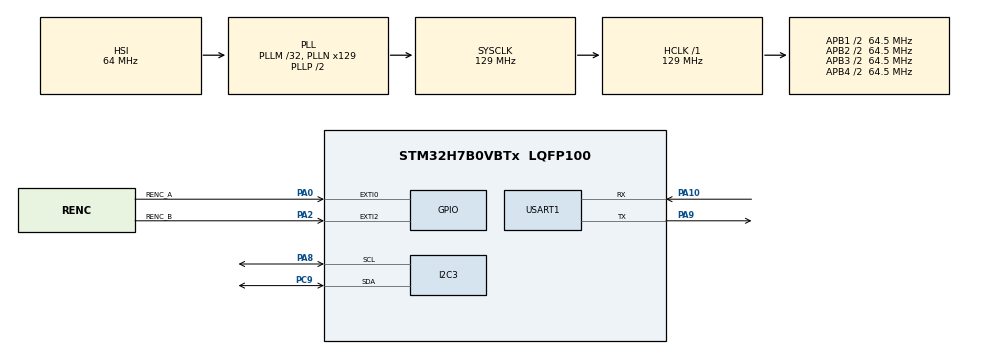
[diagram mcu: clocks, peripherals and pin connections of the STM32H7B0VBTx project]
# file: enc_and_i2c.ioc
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I2C3.Timing=0x4030324B
Mcu.Family=STM32H7
Mcu.Name=STM32H7B0VBTx
Mcu.Package=LQFP100
NVIC.EXTI0_IRQn=true\:0\:0\:false\:false\:true\:true\:true\:true
NVIC.EXTI2_IRQn=true\:0\:0\:false\:false\:true\:true\:true\:true
NVIC.PriorityGroup=NVIC_PRIORITYGROUP_4
NVIC.USART1_IRQn=true\:0\:0\:false\:false\:true\:true\:true\:true
PA0.GPIO_Label=RENC_A
PA0.GPIO_ModeDefaultEXTI=GPIO_MODE_IT_RISING_FALLING
PA0.GPIO_PuPd=GPIO_PULLUP
PA0.Signal=GPXTI0
PA10.Mode=Asynchronous
PA10.Signal=USART1_RX
PA2.GPIO_Label=RENC_B
PA2.GPIO_ModeDefaultEXTI=GPIO_MODE_IT_RISING_FALLING
PA2.GPIO_PuPd=GPIO_PULLUP
PA2.Signal=GPXTI2
PA8.Mode=I2C
PA8.Signal=I2C3_SCL
PA9.Mode=Asynchronous
PA9.Signal=USART1_TX
PC9.Mode=I2C
PC9.Signal=I2C3_SDA
PH0-OSC_IN.Mode=HSE-External-Oscillator
PH0-OSC_IN.Signal=RCC_OSC_IN
PH1-OSC_OUT.Mode=HSE-External-Oscillator
PH1-OSC_OUT.Signal=RCC_OSC_OUT
ProjectManager.HeapSize=0x200
ProjectManager.StackSize=0x400
ProjectManager.TargetToolchain=STM32CubeIDE
RCC.ADCFreq_Value=129000000
RCC.APB1Freq_Value=64500000
RCC.APB2Freq_Value=64500000
RCC.APB3Freq_Value=64500000
RCC.APB4Freq_Value=64500000
RCC.CDPPRE=RCC_APB3_DIV2
RCC.CDPPRE1=RCC_APB1_DIV2
RCC.CDPPRE2=RCC_APB2_DIV2
RCC.CortexFreq_Value=129000000
RCC.HCLKFreq_Value=129000000
RCC.SRDPPRE=RCC_APB4_DIV2
RCC.SYSCLKFreq_VALUE=129000000
RCC.SYSCLKSource=RCC_SYSCLKSOURCE_PLLCLK
RCC.USBFreq_Value=129000000
USART1.VirtualMode-Asynchronous=VM_ASYNC
board=custom

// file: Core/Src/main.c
/* USER CODE BEGIN Header */
/**
  ******************************************************************************
  * @file           : main.c
  * @brief          : Main program body
  ******************************************************************************
  * @attention
  *
  * Copyright (c) 2022 STMicroelectronics.
  * All rights reserved.
  *
  * This software is licensed under terms that can be found in the LICENSE file
  * in the root directory of this software component.
  * If no LICENSE file comes with this software, it is provided AS-IS.
  *
  ******************************************************************************
  */
/* USER CODE END Header */
#include "main.h"

#include <string.h>
#include <stdio.h>
#include <stdbool.h>

I2C_HandleTypeDef hi2c3;

UART_HandleTypeDef huart1;

void SystemClock_Config(void);
static void MX_GPIO_Init(void);
static void MX_I2C3_Init(void);
static void MX_USART1_UART_Init(void);

/* USER CODE BEGIN 0 */
	bool send_usart = 0;
	int16_t count = 95;
	char buf[25] = {0,};
/* USER CODE END 0 */

int main(void)
{
  /* USER CODE BEGIN 1 */
	uint8_t Buf20[20]   = {0x04,0x05,0x06,0x07,0x08,0x09,0x0A,0x0B,0x0C,0x0E,0x0F,0x10,0x11,0x12,0x13,0x14,0x15,0x16,0x17,0x1C};
	uint8_t Init20[20]  = {0xA0,0x8B,0x03,0x96,0x96,0x10,0x07,0x00,0x00,0xB1,0x41,0x22,0xA9,0x41,0x22,0xFF,0xFF,0x00,0x30,0x00};
	char strs[20][20] = {"POWER_CTRL","AMP_DAC_CTRL","DAC_CTRL","VOL_LEFT_CTRL","VOL_RIGHT_CTRL",
						"SAI_CTRL1","SAI_CTRL2","SLOT_LEFT_CTRL","SLOT_RIGHT_CTRL","LIM_LEFT_CTRL1",
						"LIM_LEFT_CTRL2","LIM_LEFT_CTRL3","LIM_RIGHT_CTRL1","LIM_RIGHT_CTRL2","LIM_RIGHT_CTRL3",
						"CLIP_LEFT_CTRL","CLIP_RIGHT_CTRL","FAULT_CTRL1","FAULT_CTRL2","SOFT_RESET"};
	uint8_t Buf[1];
	char log[500];
	uint8_t log_len;

//	char Buffer[6];
//	uint8_t Space[] = " - ";
//	uint8_t StartMSG[] = "\r\n Starting I2C Scanning: \r\n";
//	uint8_t EndMSG[] = "Done! \r\n\r\n";
	uint8_t i = 0;

//	uint8_t Init[] = "SSM3582a Initialization \r\n\r\n";
	uint8_t dB01[1];
  /* USER CODE END 1 */

  /* MCU Configuration--------------------------------------------------------*/

  /* Reset of all peripherals, Initializes the Flash interface and the Systick. */
  HAL_Init();

  /* Configure the system clock */
  SystemClock_Config();

  /* Initialize all configured peripherals */
  MX_GPIO_Init();
  MX_I2C3_Init();
  MX_USART1_UART_Init();
  /* USER CODE BEGIN 2 */
  for(i=0; i<20; i++)
  {
	  dB01[0] = Init20[i];
	  HAL_I2C_Mem_Write(&hi2c3, (0x12 << 1), Buf20[i], I2C_MEMADD_SIZE_8BIT, dB01, 1, 100);
	  HAL_I2C_Mem_Read(&hi2c3, (0x12 << 1), Buf20[i], I2C_MEMADD_SIZE_8BIT, Buf, 1, 100);
	  log_len = sprintf(log, " 0x%X : %s Addr 0x%X\r\n", Buf[0], strs[i], Buf20[i]);
	  HAL_UART_Transmit(&huart1, (uint8_t *)log, log_len, 100);
  }
  /* USER CODE END 2 */

  /* Infinite loop */
  /* USER CODE BEGIN WHILE */
  while (1)
  {
	  if (send_usart)
	  {
		  count>=255? count=255:count;
		  count<=95? count=95:count;
		  sprintf(buf, "Testing : %d : %X \r\n", count,count);
		  HAL_UART_Transmit_IT(&huart1,(uint8_t*)buf, strlen(buf));
		  dB01[0] = count;
		  HAL_I2C_Mem_Write(&hi2c3, (0x12 << 1), 0x07, I2C_MEMADD_SIZE_8BIT, dB01, 1, 100);
		  HAL_I2C_Mem_Write(&hi2c3, (0x12 << 1), 0x08, I2C_MEMADD_SIZE_8BIT, dB01, 1, 100);
		  send_usart=0;
	  }
    /* USER CODE END WHILE */

  }
}

void SystemClock_Config(void)
{
  RCC_OscInitTypeDef RCC_OscInitStruct = {0};
  RCC_ClkInitTypeDef RCC_ClkInitStruct = {0};

  /*AXI clock gating */
  RCC->CKGAENR = 0xFFFFFFFF;

  /** Supply configuration update enable
  */
  HAL_PWREx_ConfigSupply(PWR_LDO_SUPPLY);

  /** Configure the main internal regulator output voltage
  */
  __HAL_PWR_VOLTAGESCALING_CONFIG(PWR_REGULATOR_VOLTAGE_SCALE2);

  while(!__HAL_PWR_GET_FLAG(PWR_FLAG_VOSRDY)) {}

  /** Initializes the RCC Oscillators according to the specified parameters
  * in the RCC_OscInitTypeDef structure.
  */
  RCC_OscInitStruct.OscillatorType = RCC_OSCILLATORTYPE_HSI;
  RCC_OscInitStruct.HSIState = RCC_HSI_DIV1;
  RCC_OscInitStruct.HSICalibrationValue = RCC_HSICALIBRATION_DEFAULT;
  RCC_OscInitStruct.PLL.PLLState = RCC_PLL_ON;
  RCC_OscInitStruct.PLL.PLLSource = RCC_PLLSOURCE_HSI;
  RCC_OscInitStruct.PLL.PLLM = 32;
  RCC_OscInitStruct.PLL.PLLN = 129;
  RCC_OscInitStruct.PLL.PLLP = 2;
  RCC_OscInitStruct.PLL.PLLQ = 2;
  RCC_OscInitStruct.PLL.PLLR = 2;
  RCC_OscInitStruct.PLL.PLLRGE = RCC_PLL1VCIRANGE_1;
  RCC_OscInitStruct.PLL.PLLVCOSEL = RCC_PLL1VCOWIDE;
  RCC_OscInitStruct.PLL.PLLFRACN = 0;
  if (HAL_RCC_OscConfig(&RCC_OscInitStruct) != HAL_OK)
  {
    Error_Handler();
  }

  /** Initializes the CPU, AHB and APB buses clocks
  */
  RCC_ClkInitStruct.ClockType = RCC_CLOCKTYPE_HCLK|RCC_CLOCKTYPE_SYSCLK
                              |RCC_CLOCKTYPE_PCLK1|RCC_CLOCKTYPE_PCLK2
                              |RCC_CLOCKTYPE_D3PCLK1|RCC_CLOCKTYPE_D1PCLK1;
  RCC_ClkInitStruct.SYSCLKSource = RCC_SYSCLKSOURCE_PLLCLK;
  RCC_ClkInitStruct.SYSCLKDivider = RCC_SYSCLK_DIV1;
  RCC_ClkInitStruct.AHBCLKDivider = RCC_HCLK_DIV1;
  RCC_ClkInitStruct.APB3CLKDivider = RCC_APB3_DIV2;
  RCC_ClkInitStruct.APB1CLKDivider = RCC_APB1_DIV2;
  RCC_ClkInitStruct.APB2CLKDivider = RCC_APB2_DIV2;
  RCC_ClkInitStruct.APB4CLKDivider = RCC_APB4_DIV2;

  if (HAL_RCC_ClockConfig(&RCC_ClkInitStruct, FLASH_LATENCY_3) != HAL_OK)
  {
    Error_Handler();
  }
}

static void MX_I2C3_Init(void)
{

  hi2c3.Instance = I2C3;
  hi2c3.Init.Timing = 0x4030324B;
  hi2c3.Init.OwnAddress1 = 0;
  hi2c3.Init.AddressingMode = I2C_ADDRESSINGMODE_7BIT;
  hi2c3.Init.DualAddressMode = I2C_DUALADDRESS_DISABLE;
  hi2c3.Init.OwnAddress2 = 0;
  hi2c3.Init.OwnAddress2Masks = I2C_OA2_NOMASK;
  hi2c3.Init.GeneralCallMode = I2C_GENERALCALL_DISABLE;
  hi2c3.Init.NoStretchMode = I2C_NOSTRETCH_DISABLE;
  if (HAL_I2C_Init(&hi2c3) != HAL_OK)
  {
    Error_Handler();
  }

  /** Configure Analogue filter
  */
  if (HAL_I2CEx_ConfigAnalogFilter(&hi2c3, I2C_ANALOGFILTER_ENABLE) != HAL_OK)
  {
    Error_Handler();
  }

  /** Configure Digital filter
  */
  if (HAL_I2CEx_ConfigDigitalFilter(&hi2c3, 0) != HAL_OK)
  {
    Error_Handler();
  }

}

static void MX_USART1_UART_Init(void)
{

  huart1.Instance = USART1;
  huart1.Init.BaudRate = 115200;
  huart1.Init.WordLength = UART_WORDLENGTH_8B;
  huart1.Init.StopBits = UART_STOPBITS_1;
  huart1.Init.Parity = UART_PARITY_NONE;
  huart1.Init.Mode = UART_MODE_TX_RX;
  huart1.Init.HwFlowCtl = UART_HWCONTROL_NONE;
  huart1.Init.OverSampling = UART_OVERSAMPLING_16;
  huart1.Init.OneBitSampling = UART_ONE_BIT_SAMPLE_DISABLE;
  huart1.Init.ClockPrescaler = UART_PRESCALER_DIV1;
  huart1.AdvancedInit.AdvFeatureInit = UART_ADVFEATURE_NO_INIT;
  if (HAL_UART_Init(&huart1) != HAL_OK)
  {
    Error_Handler();
  }
  if (HAL_UARTEx_SetTxFifoThreshold(&huart1, UART_TXFIFO_THRESHOLD_1_8) != HAL_OK)
  {
    Error_Handler();
  }
  if (HAL_UARTEx_SetRxFifoThreshold(&huart1, UART_RXFIFO_THRESHOLD_1_8) != HAL_OK)
  {
    Error_Handler();
  }
  if (HAL_UARTEx_DisableFifoMode(&huart1) != HAL_OK)
  {
    Error_Handler();
  }

}

static void MX_GPIO_Init(void)
{
  GPIO_InitTypeDef GPIO_InitStruct = {0};

  /* GPIO Ports Clock Enable */
  __HAL_RCC_GPIOH_CLK_ENABLE();
  __HAL_RCC_GPIOA_CLK_ENABLE();
  __HAL_RCC_GPIOC_CLK_ENABLE();

  /*Configure GPIO pins : RENC_A_Pin RENC_B_Pin */
  GPIO_InitStruct.Pin = RENC_A_Pin|RENC_B_Pin;
  GPIO_InitStruct.Mode = GPIO_MODE_IT_RISING_FALLING;
  GPIO_InitStruct.Pull = GPIO_PULLUP;
  HAL_GPIO_Init(GPIOA, &GPIO_InitStruct);

  /* EXTI interrupt init*/
  HAL_NVIC_SetPriority(EXTI0_IRQn, 0, 0);
  HAL_NVIC_EnableIRQ(EXTI0_IRQn);

  HAL_NVIC_SetPriority(EXTI2_IRQn, 0, 0);
  HAL_NVIC_EnableIRQ(EXTI2_IRQn);

}

/* USER CODE BEGIN 4 */
	void HAL_GPIO_EXTI_Callback(uint16_t GPIO_Pin)
	{
		static GPIO_PinState A,B,prev_A=GPIO_PIN_SET,prev_B=GPIO_PIN_SET;

		if(GPIO_Pin==RENC_A_Pin)
		{
			B=HAL_GPIO_ReadPin(RENC_B_GPIO_Port,RENC_B_Pin);
			// CCW decoder
			if(B!=prev_B)
			{
				if(B==GPIO_PIN_SET)
				{
					if(A==GPIO_PIN_RESET)
					{
						count=count-8;
						send_usart=1;
					}
				}
				prev_B=B;
			}

		}

		if(GPIO_Pin==RENC_B_Pin)
		{
			A=HAL_GPIO_ReadPin(RENC_A_GPIO_Port,RENC_A_Pin);
			// CW decoder
			if(A!=prev_A)
			{
				if(A==GPIO_PIN_SET)
				{
					if(B==GPIO_PIN_RESET)
					{
						count=count+8;
						send_usart=1;
					}
				}
				prev_A=A;
			}

		}
	}
/* USER CODE END 4 */

void Error_Handler(void)
{
  __disable_irq();
  while (1)
  {
  }
}
